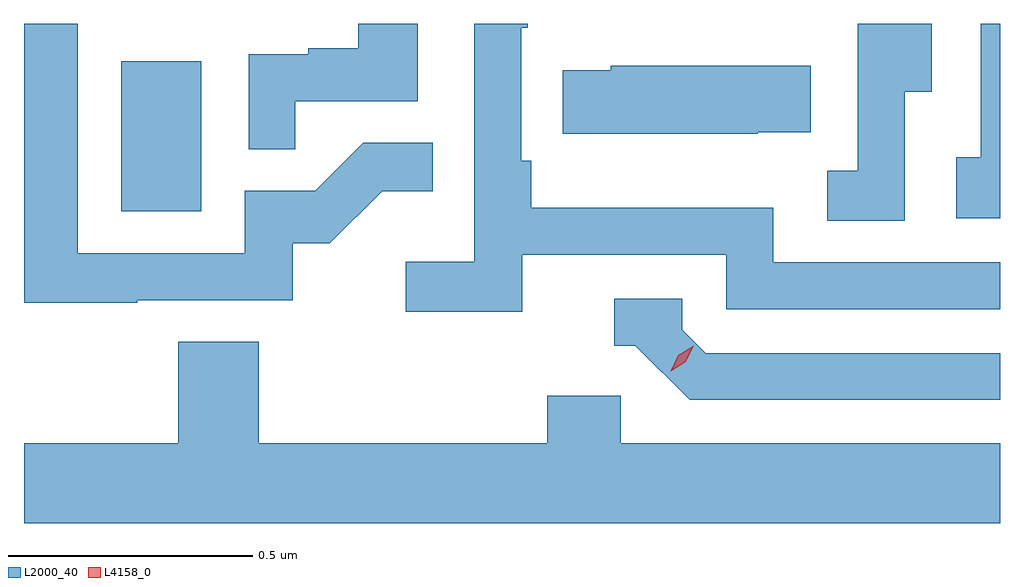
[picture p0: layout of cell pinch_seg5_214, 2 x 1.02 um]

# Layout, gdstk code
import gdstk
lib = gdstk.Library(unit=1e-6, precision=1e-09)
def R(c, l, rs):  # rectangles x0, y0, x1, y1
    for r in rs: c.add(gdstk.rectangle(r[:2], r[2:], *l))
def P(c, l, *ps):  # polygons
    for p in ps: c.add(gdstk.Polygon(p, *l))
L2000_40 = (2000, 40)
L4158_0 = (4158, 0)

pinch_seg5_214 = lib.new_cell('pinch_seg5_214')
R(pinch_seg5_214, L2000_40, [(1010.252,904.02,1010.416,904.327)])
P(pinch_seg5_214, L2000_40, [(1010.285,903.837),(1010.604,903.837),(1010.604,903.954),(1010.68,903.954),(1010.787,904.061),(1010.891,904.061),(1010.891,904.16),(1010.748,904.16),(1010.65,904.062),(1010.505,904.062),(1010.505,903.933),(1010.163,903.933),(1010.163,904.404),(1010.053,904.404),(1010.053,903.832),(1010.285,903.832)],
  [(1011.074,903.93),(1011.492,903.93),(1011.492,903.819),(1012.053,903.819),(1012.053,903.915),(1011.588,903.915),(1011.588,904.027),(1011.092,904.027),(1011.092,904.123),(1011.072,904.123),(1011.072,904.396),(1011.085,904.396),(1011.085,904.404),(1010.976,904.404),(1010.976,903.916),(1010.835,903.916),(1010.835,903.814),(1011.074,903.814)],
  [(1012.053,904.404),(1012.014,904.404),(1012.014,904.13),(1011.963,904.13),(1011.963,904.005),(1012.053,904.005)],
  [(1011.858,904.264),(1011.913,904.264),(1011.913,904.404),(1011.762,904.404),(1011.762,904.103),(1011.699,904.103),(1011.699,904),(1011.858,904)],
  [(1010.609,904.245),(1010.86,904.245),(1010.86,904.404),(1010.738,904.404),(1010.738,904.354),(1010.635,904.354),(1010.635,904.341),(1010.514,904.341),(1010.514,904.147),(1010.609,904.147)],
  [(1011.557,904.181),(1011.665,904.181),(1011.665,904.318),(1011.255,904.318),(1011.255,904.308),(1011.157,904.308),(1011.157,904.178),(1011.557,904.178)],
  [(1012.053,903.729),(1011.45,903.729),(1011.402,903.777),(1011.402,903.84),(1011.263,903.84),(1011.263,903.744),(1011.306,903.744),(1011.417,903.633),(1012.053,903.633)],
  [(1012.053,903.544),(1011.276,903.544),(1011.276,903.642),(1011.125,903.642),(1011.125,903.544),(1010.534,903.544),(1010.534,903.752),(1010.369,903.752),(1010.369,903.544),(1010.053,903.544),(1010.053,903.38),(1012.053,903.38)])
P(pinch_seg5_214, L4158_0, [(1011.378,903.692),(1011.378,903.692),(1011.394,903.724),(1011.425,903.744),(1011.425,903.744),(1011.425,903.744),(1011.409,903.711),(1011.378,903.692)])

lib.write_gds('pinch_seg5_214.gds')
